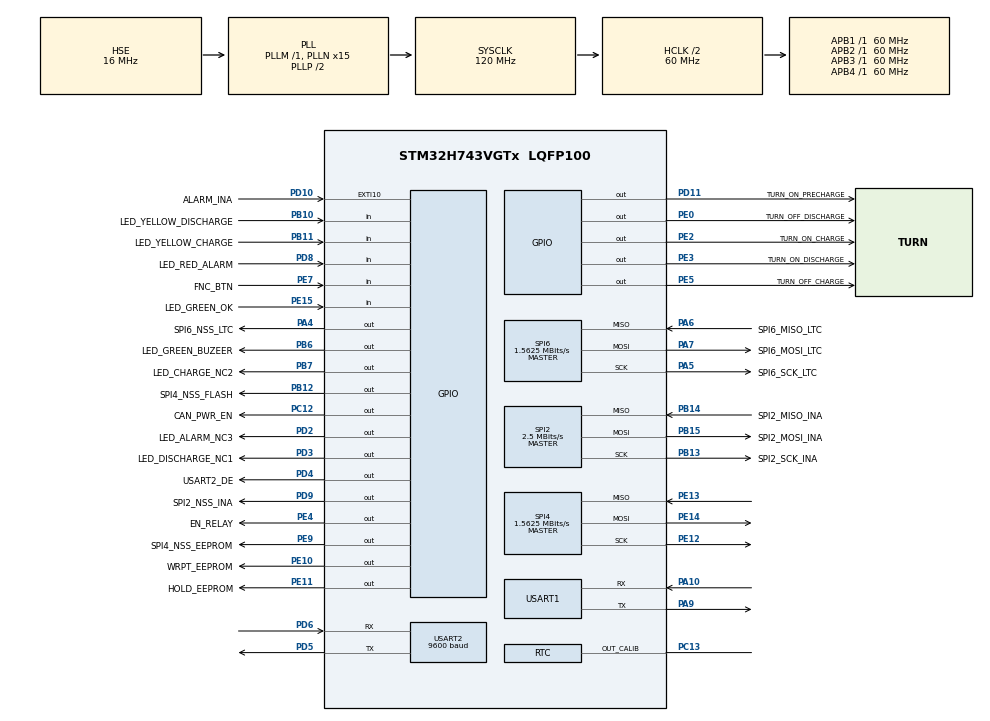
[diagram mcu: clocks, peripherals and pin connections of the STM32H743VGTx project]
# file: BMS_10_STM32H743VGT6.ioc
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CORTEX_M7.default_mode_Activation=0
Mcu.Family=STM32H7
Mcu.Name=STM32H743VGTx
Mcu.Package=LQFP100
NVIC.EXTI15_10_IRQn=true\:0\:0\:false\:true\:true\:3\:true\:true\:true
NVIC.PriorityGroup=NVIC_PRIORITYGROUP_4
NVIC.TIM6_DAC_IRQn=true\:1\:0\:true\:true\:true\:1\:true\:true\:true
NVIC.USART2_IRQn=true\:2\:0\:true\:true\:true\:2\:true\:true\:true
PA10.Mode=Asynchronous
PA10.Signal=USART1_RX
PA13\ (JTMS/SWDIO).Mode=Serial_Wire
PA13\ (JTMS/SWDIO).Signal=DEBUG_JTMS-SWDIO
PA14\ (JTCK/SWCLK).Mode=Serial_Wire
PA14\ (JTCK/SWCLK).Signal=DEBUG_JTCK-SWCLK
PA4.GPIO_Label=SPI6_NSS_LTC
PA4.Signal=GPIO_Output
PA5.GPIO_Label=SPI6_SCK_LTC
PA5.Mode=Full_Duplex_Master
PA5.Signal=SPI6_SCK
PA6.GPIO_Label=SPI6_MISO_LTC
PA6.Mode=Full_Duplex_Master
PA6.Signal=SPI6_MISO
PA7.GPIO_Label=SPI6_MOSI_LTC
PA7.Mode=Full_Duplex_Master
PA7.Signal=SPI6_MOSI
PA9.Mode=Asynchronous
PA9.Signal=USART1_TX
PB10.GPIO_Label=LED_YELLOW_DISCHARGE
PB10.GPIO_PuPd=GPIO_PULLUP
PB10.Signal=GPIO_Input
PB11.GPIO_Label=LED_YELLOW_CHARGE
PB11.GPIO_PuPd=GPIO_PULLUP
PB11.Signal=GPIO_Input
PB12.GPIO_Label=SPI4_NSS_FLASH
PB12.Signal=GPIO_Output
PB13.GPIO_Label=SPI2_SCK_INA
PB13.Mode=Full_Duplex_Master
PB13.Signal=SPI2_SCK
PB14.GPIO_Label=SPI2_MISO_INA
PB14.Mode=Full_Duplex_Master
PB14.Signal=SPI2_MISO
PB15.GPIO_Label=SPI2_MOSI_INA
PB15.Mode=Full_Duplex_Master
PB15.Signal=SPI2_MOSI
PB6.GPIO_Label=LED_GREEN_BUZEER
PB6.Signal=GPIO_Output
PB7.GPIO_Label=LED_CHARGE_NC2
PB7.Signal=GPIO_Output
PC12.GPIO_Label=CAN_PWR_EN
PC12.Signal=GPIO_Output
PC13.Mode=Calibration_1Hz
PC13.Signal=RTC_OUT_CALIB
PC14-OSC32_IN\ (OSC32_IN).Mode=LSE-External-Oscillator
PC14-OSC32_IN\ (OSC32_IN).Signal=RCC_OSC32_IN
PC15-OSC32_OUT\ (OSC32_OUT).Mode=LSE-External-Oscillator
PC15-OSC32_OUT\ (OSC32_OUT).Signal=RCC_OSC32_OUT
PD10.GPIO_Label=ALARM_INA
PD10.GPIO_ModeDefaultEXTI=GPIO_MODE_IT_FALLING
PD10.GPIO_PuPd=GPIO_NOPULL
PD10.Signal=GPXTI10
PD11.GPIO_Label=TURN_ON_PRECHARGE
PD11.Signal=GPIO_Output
PD2.GPIO_Label=LED_ALARM_NC3
PD2.Signal=GPIO_Output
PD3.GPIO_Label=LED_DISCHARGE_NC1
PD3.Signal=GPIO_Output
PD4.GPIO_Label=USART2_DE
PD4.Signal=GPIO_Output
PD5.Mode=Asynchronous
PD5.Signal=USART2_TX
PD6.Mode=Asynchronous
PD6.Signal=USART2_RX
PD8.GPIO_Label=LED_RED_ALARM
PD8.GPIO_PuPd=GPIO_PULLUP
PD8.Signal=GPIO_Input
PD9.GPIO_Label=SPI2_NSS_INA
PD9.Signal=GPIO_Output
PE0.GPIO_Label=TURN_OFF_DISCHARGE
PE0.Signal=GPIO_Output
PE10.GPIO_Label=WRPT_EEPROM
PE10.Signal=GPIO_Output
PE11.GPIO_Label=HOLD_EEPROM
PE11.Signal=GPIO_Output
PE12.Mode=Full_Duplex_Master
PE12.Signal=SPI4_SCK
PE13.Mode=Full_Duplex_Master
PE13.Signal=SPI4_MISO
PE14.Mode=Full_Duplex_Master
PE14.Signal=SPI4_MOSI
PE15.GPIO_Label=LED_GREEN_OK
PE15.GPIO_PuPd=GPIO_PULLUP
PE15.Signal=GPIO_Input
PE2.GPIO_Label=TURN_ON_CHARGE
PE2.Signal=GPIO_Output
PE3.GPIO_Label=TURN_ON_DISCHARGE
PE3.Signal=GPIO_Output
PE4.GPIO_Label=EN_RELAY
PE4.Signal=GPIO_Output
PE5.GPIO_Label=TURN_OFF_CHARGE
PE5.Signal=GPIO_Output
PE7.GPIO_Label=FNC_BTN
PE7.GPIO_PuPd=GPIO_PULLUP
PE7.Signal=GPIO_Input
PE9.GPIO_Label=SPI4_NSS_EEPROM
PE9.Signal=GPIO_Output
PH0-OSC_IN\ (PH0).Mode=HSE-External-Oscillator
PH0-OSC_IN\ (PH0).Signal=RCC_OSC_IN
PH1-OSC_OUT\ (PH1).Mode=HSE-External-Oscillator
PH1-OSC_OUT\ (PH1).Signal=RCC_OSC_OUT
ProjectManager.HeapSize=0x200
ProjectManager.StackSize=0x400
ProjectManager.TargetToolchain=STM32CubeIDE
RCC.ADCFreq_Value=75000000
RCC.APB1Freq_Value=60000000
RCC.APB2Freq_Value=60000000
RCC.APB3Freq_Value=60000000
RCC.APB4Freq_Value=60000000
RCC.CortexFreq_Value=120000000
RCC.DIVM1=1
RCC.DIVM2=1
RCC.DIVN1=15
RCC.DIVN2=9
RCC.DIVQ1=3
RCC.DIVQ2=3
RCC.EnbaleCSS=true
RCC.FDCANCLockSelection=RCC_FDCANCLKSOURCE_PLL2
RCC.HCLKFreq_Value=60000000
RCC.HPRE=RCC_HCLK_DIV2
RCC.HSE_VALUE=16000000
RCC.PLL2FRACN=3072
RCC.PLL3FRACN=0
RCC.PLLFRACN=0
RCC.PLLSourceVirtual=RCC_PLLSOURCE_HSE
RCC.RTCClockSelection=RCC_RTCCLKSOURCE_LSE
RCC.SPI6CLockSelection=RCC_SPI6CLKSOURCE_PLL2
RCC.SYSCLKFreq_VALUE=120000000
RCC.SYSCLKSource=RCC_SYSCLKSOURCE_PLLCLK
RCC.Spi45ClockSelection=RCC_SPI45CLKSOURCE_PLL2
RCC.Tim2Mul=1
RCC.USART16CLockSelection=RCC_USART16CLKSOURCE_PLL2
RCC.USART234578CLockSelection=RCC_USART234578CLKSOURCE_PLL2
RCC.USBFreq_Value=80000000
RTC.Date=9
RTC.Hours=12
RTC.Minutes=12
RTC.Month=RTC_MONTH_JULY
RTC.Seconds=12
RTC.WeekDay=RTC_WEEKDAY_SUNDAY
RTC.Year=23
SPI2.BaudRatePrescaler=SPI_BAUDRATEPRESCALER_32
SPI2.CLKPhase=SPI_PHASE_2EDGE
SPI2.CalculateBaudRate=2.5 MBits/s
SPI2.DataSize=SPI_DATASIZE_8BIT
SPI2.Direction=SPI_DIRECTION_2LINES
SPI2.MasterKeepIOState=SPI_MASTER_KEEP_IO_STATE_ENABLE
SPI2.Mode=SPI_MODE_MASTER
SPI2.VirtualType=VM_MASTER
SPI4.BaudRatePrescaler=SPI_BAUDRATEPRESCALER_32
SPI4.CalculateBaudRate=1.5625 MBits/s
SPI4.DataSize=SPI_DATASIZE_8BIT
SPI4.Direction=SPI_DIRECTION_2LINES
SPI4.MasterKeepIOState=SPI_MASTER_KEEP_IO_STATE_ENABLE
SPI4.Mode=SPI_MODE_MASTER
SPI4.VirtualType=VM_MASTER
SPI6.BaudRatePrescaler=SPI_BAUDRATEPRESCALER_32
SPI6.CLKPhase=SPI_PHASE_2EDGE
SPI6.CLKPolarity=SPI_POLARITY_HIGH
SPI6.CalculateBaudRate=1.5625 MBits/s
SPI6.DataSize=SPI_DATASIZE_8BIT
SPI6.Direction=SPI_DIRECTION_2LINES
SPI6.MasterKeepIOState=SPI_MASTER_KEEP_IO_STATE_ENABLE
SPI6.Mode=SPI_MODE_MASTER
SPI6.VirtualType=VM_MASTER
TIM6.Period=60000
USART1.VirtualMode-Asynchronous=VM_ASYNC
USART2.BaudRate=9600
USART2.DMADisableonRxErrorParam=ADVFEATURE_DMA_DISABLEONRXERROR
USART2.DataInvertParam=ADVFEATURE_DATAINV_DISABLE
USART2.FIFOMode=FIFOMODE_DISABLE
USART2.MSBFirstParam=ADVFEATURE_MSBFIRST_DISABLE
USART2.OverrunDisableParam=ADVFEATURE_OVERRUN_DISABLE
USART2.RxPinLevelInvertParam=ADVFEATURE_RXINV_ENABLE
USART2.SwapParam=ADVFEATURE_SWAP_DISABLE
USART2.TxPinLevelInvertParam=ADVFEATURE_TXINV_ENABLE
USART2.VirtualMode-Asynchronous=VM_ASYNC
VP_RTC_VS_RTC_Activate.Mode=RTC_Enabled
VP_RTC_VS_RTC_Calendar.Mode=RTC_Calendar
VP_TIM6_VS_ClockSourceINT.Mode=Enable_Timer
board=custom

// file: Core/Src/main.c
/* USER CODE BEGIN Header */
/**
  ******************************************************************************
  * @file           : main.c
  * @brief          : Main program body
  ******************************************************************************
  * @attention
  *
  * Copyright (c) 2023 STMicroelectronics.
  * All rights reserved.
  *
  * This software is licensed under terms that can be found in the LICENSE file
  * in the root directory of this software component.
  * If no LICENSE file comes with this software, it is provided AS-IS.
  *
  ******************************************************************************
  */
/* USER CODE END Header */
#include "main.h"

/* USER CODE BEGIN Includes */

#include "stdint.h"
#include "stdlib.h"
#include "stm32_tm1637.h"
#include "LTC6813.h"
#include "LTC6813_BMS.h"
#include "INA229.h"
#include "BMS_Communication_Protocol.h"
#include "w25qxx.h"
#include "STM32_EEPROM_SPI.h"
#include "Event_Log.h"
#include "BMS_Power_Control.h"
#include "stdio.h"
#include "string.h"

//#include "LTC6813_BMS.h"

/* USER CODE END Includes */

RTC_HandleTypeDef hrtc;

SPI_HandleTypeDef hspi2;
SPI_HandleTypeDef hspi4;
SPI_HandleTypeDef hspi6;

TIM_HandleTypeDef htim6;

UART_HandleTypeDef huart1;
UART_HandleTypeDef huart2;

/* USER CODE BEGIN PV */

const uint16_t M = 18;
const uint16_t N = 4;

RTC_TimeTypeDef sTime = {0};
RTC_DateTypeDef DateToUpdate = {0};
char trans_str[5] = {0,};

uint8_t w_buf[64] = {0,};
uint8_t r_buf[64] = {0,};

uint16_t History_Data_Num = 0;

uint8_t Cell_Voltage_Alarm_State[18] = {0,};
uint8_t Temperature_Alarm_State[4] = {0,};
uint8_t Current_Alarm_State = 0;
uint8_t Battery_Voltage_Alarm_State = 0;
uint8_t System_State_Code = 0;
uint8_t Voltage_Event_Code;
uint8_t Temperature_Event_Code;
uint8_t Current_Event_Code;

uint8_t Pack_Location;

int16_t Alarm_Max_Temper_Cell;
int16_t Alarm_Min_Temper_Cell;
uint16_t Alarm_Charge_Over_Current;
uint16_t Alarm_Discharge_Over_Current;
uint16_t Alarm_Cell_Over_Voltage;
uint16_t Alarm_Cell_Under_Voltage;
uint16_t Alarm_Battery_Over_Voltage;
uint16_t Alarm_Battery_Under_Voltage;

uint16_t Protection_Cell_Over_Voltage;
uint16_t Protection_Recover_Cell_Over_Voltage;
uint16_t Protection_Recover_Cell_Under_Voltage;
uint16_t Protection_Cell_Under_Voltage;
uint16_t Protection_Battery_Over_Voltage;
uint16_t Protection_Recover_Battery_Over_Voltage;
uint16_t Protection_Recover_Battery_Under_Voltage;
uint16_t Protection_Battery_Under_Voltage;
uint16_t Protection_Charge_Over_Current;
uint16_t Protection_Discharge_Over_Current;

int16_t Equalization_State = 0;
uint16_t Total_Battery_Capacity_mAh = BATTERY_CAPACITY_DEFAULT;
uint32_t Battery_Residual_Capacity_mAh;
uint64_t Battery_Capacity_Accum;
uint16_t Battery_Cycles = 1;

uint16_t Cell_Voltage_mV;
uint16_t Vpack_Voltage_mV;
int16_t Current_mA;
int16_t Current_Average;
int16_t Environment_temperature;
uint16_t Cell_Voltage_Array[18] = {0,};

uint8_t USART_TX_SEND = 0;
uint8_t RS485_RX_DATA[RS485_RX_MAX_FRAME_LENGTH] = {0,};
uint8_t RS485_RX_DATA_TEMP;
uint8_t RS485_RX_START_FRAME_FLAG = 0;
uint8_t RS485_RX_STOP_FRAME_FLAG = 0;
uint8_t RS485_RX_FRAME_DONE_FLAG = 0;
uint8_t RS485_RX_COUNTER = 0;

uint8_t Alarm_Flag = 0;
uint8_t screen_num = 0;

char PackNum_Char_1;
char PackNum_Char_2;

uint8_t SOC_percent;

uint8_t Temp_Ch;

uint16_t EEPROM_Write_timer;

#define CURRENT_COEF 75/100
#define CURRENT_COEF_INV 100/75

#define STARTING_CURRENT 10

#define ParaArraySize 69
int32_t EEPROM_Read_Array[ParaArraySize] = {0,};
int32_t Para_Array[ParaArraySize] = {0,};

/* USER CODE END PV */

void SystemClock_Config(void);
void PeriphCommonClock_Config(void);
static void MX_GPIO_Init(void);
static void MX_RTC_Init(void);
static void MX_SPI6_Init(void);
static void MX_TIM6_Init(void);
static void MX_SPI2_Init(void);
static void MX_USART2_UART_Init(void);
static void MX_SPI4_Init(void);
static void MX_USART1_UART_Init(void);
static void MX_NVIC_Init(void);

/* USER CODE BEGIN 0 */

void HAL_GPIO_EXTI_Callback(uint16_t GPIO_Pin){ // INA229 ALARM
   if(GPIO_Pin == GPIO_PIN_10){
		if (INA229_Read_ALERT() & 0x20){
			HAL_GPIO_WritePin(TURN_OFF_CHARGE_GPIO_Port, TURN_OFF_CHARGE_Pin, GPIO_PIN_SET);
			HAL_GPIO_WritePin(TURN_ON_CHARGE_GPIO_Port, TURN_ON_CHARGE_Pin, GPIO_PIN_RESET);
			Alarm_Flag = 3;
		}
		else if (INA229_Read_ALERT() & 0x40){
			HAL_GPIO_WritePin(TURN_OFF_DISCHARGE_GPIO_Port, TURN_OFF_DISCHARGE_Pin, GPIO_PIN_SET);
			HAL_GPIO_WritePin(TURN_ON_DISCHARGE_GPIO_Port, TURN_ON_DISCHARGE_Pin, GPIO_PIN_RESET);
			Alarm_Flag = 5;
		}
   }
}

void HAL_UART_RxCpltCallback(UART_HandleTypeDef *huart){
	if(huart == &huart2){
		RS485_RX_FLAG_STATE();
		HAL_UART_Receive_IT(&huart2, &RS485_RX_DATA_TEMP, 1);
	}
}

void HAL_TIM_PeriodElapsedCallback(TIM_HandleTypeDef *htim) {
	if(htim->Instance == TIM6) {

//		Current_mA = INA229_Read_VSHUNT()/RSHUNT/25;
//		Battery_Capacity_Accum += Current_mA*2^32/(1000*60*60);
		Battery_Capacity_Accum += Current_mA*4294967296/3600000;
		Battery_Residual_Capacity_mAh = Battery_Capacity_Accum >> 32;

		if (Battery_Residual_Capacity_mAh > Total_Battery_Capacity_mAh){
			Battery_Residual_Capacity_mAh = Total_Battery_Capacity_mAh;
		}
		else if (Battery_Residual_Capacity_mAh < 0){
			Battery_Residual_Capacity_mAh = 0;
		}
	}
}

// Фильтр скользящего среднего
int16_t Moving_Average_Simple_Current(int16_t Zk) {
    #define windowLengthCurrent 32
    static int16_t delayLine[windowLengthCurrent];
    static uint16_t pointer;
    static int32_t average_Out;
  if (++pointer >= windowLengthCurrent) pointer = 0;
  average_Out -= delayLine[pointer];
  average_Out += Zk;
  delayLine[pointer] = Zk;
  return (average_Out / windowLengthCurrent);
}
/* USER CODE END 0 */

int main(void)
{

  /* MCU Configuration--------------------------------------------------------*/

  /* Reset of all peripherals, Initializes the Flash interface and the Systick. */
  HAL_Init();

  /* Configure the system clock */
  SystemClock_Config();

/* Configure the peripherals common clocks */
  PeriphCommonClock_Config();

  /* Initialize all configured peripherals */
  MX_GPIO_Init();
  MX_RTC_Init();
  MX_SPI6_Init();
  MX_TIM6_Init();
  MX_SPI2_Init();
  MX_USART2_UART_Init();
  MX_SPI4_Init();
  MX_USART1_UART_Init();

  /* Initialize interrupts */
  MX_NVIC_Init();
  /* USER CODE BEGIN 2 */
  HAL_PWR_EnableBkUpAccess();

  TURN_OFF_ALL_MOSFETS();

  HAL_GPIO_WritePin(CAN_PWR_EN_GPIO_Port, CAN_PWR_EN_Pin, GPIO_PIN_SET);
  Pack_Location = Pack_Number_Jamper_Read();
  PackNum_Char_1 = Hex_to_ASCII(Pack_Location);
  PackNum_Char_2 = Hex_to_ASCII(Pack_Location)>>8;

  EEPROM_SPI_INIT(&hspi4);
  W25qxx_Init();
  Clear_Flash_Block(0);

  EEPROM_LOAD_DEFAULT();

  EEPROM_SPI_ReadBuffer_int32_t(0x00, ParaArraySize);
	for (int i = 0; i < ParaArraySize; i++){
		Para_Array[i] = EEPROM_Read_Array[i];
	}

  Battery_Capacity_Accum = Para_Array[Battery_rated_capacity_parameter] * 42949672960;

  INA229_Init();
  INA229_Set_Current_Charge_ALRM(STARTING_CURRENT * 1000 / 25 * 10 * CURRENT_COEF_INV);
  INA229_Set_Current_Discharge_ALRM(STARTING_CURRENT * (-1000) / 25 * 10 * CURRENT_COEF_INV);

  LTC6813_Init();

  tm1637Init();
  tm1637WriteSnake(100);
  tm1637WriteSnake(100);

  uint16_t Err_Chk = LTC6813_Chk_Start_Error();

  while (Err_Chk != 0){
	  LED_ALARM_ON();
	  if (Err_Chk == 0x01){
		  tm1637WriteSymbol('E', 3);
		  tm1637WriteSymbol('-', 2);
		  tm1637WriteSymbol('0', 1);
		  tm1637WriteSymbol('1', 0);
	  }
	  else if (Err_Chk == 0x02){
		  tm1637WriteSymbol('E', 3);
		  tm1637WriteSymbol('-', 2);
		  tm1637WriteSymbol('0', 1);
		  tm1637WriteSymbol('2', 0);
	  }
	  else if (Err_Chk == 0x04){
		  tm1637WriteSymbol('E', 3);
		  tm1637WriteSymbol('-', 2);
		  tm1637WriteSymbol('0', 1);
		  tm1637WriteSymbol('4', 0);
	  }
	  Err_Chk = LTC6813_Chk_Start_Error();
  }

  TURN_ON_PRE_CHARGE();
  HAL_Delay(Para_Array[Discharge_over_current_time_delay_parameter]);
  TURN_ON_ALL_MOSFETS();
  TURN_OFF_PRE_CHARGE();

//  Read_History_from_Flash(History_Data_Num - 1);

  INA229_Set_Current_Charge_ALRM(Para_Array[Charge_over_current_protection_parameter] * 1000 / 25 * 10 * CURRENT_COEF_INV);
  INA229_Set_Current_Discharge_ALRM(-Para_Array[Discharge_over_current_protection_parameter] * 1000 / 25 * 10 * CURRENT_COEF_INV);

  HAL_TIM_Base_Start_IT(&htim6);
  HAL_UART_Receive_IT(&huart2, &RS485_RX_DATA_TEMP, 1);

  LED_OK_ON();

// HAL_RTCEx_BKUPWrite(&hrtc, RTC_BKP_DR1, 0xBEBE); // 32 битные регистры BKUP памяти
// HAL_RTCEx_BKUPRead(&hrtc, RTC_BKP_DR1);

  /* USER CODE END 2 */

  /* Infinite loop */
  /* USER CODE BEGIN WHILE */
  while (1)
  {
	  Alarm_State_Update();
//	  LTC6813_Chk_Cell_Error();

	  Current_mA = -INA229_Read_VSHUNT()/RSHUNT/100*CURRENT_COEF;
	  Current_Average = Moving_Average_Simple_Current(Current_mA);
	  SOC_percent = Battery_Residual_Capacity_mAh * 100 / Total_Battery_Capacity_mAh;

	  Cell_Voltage_mV = LTC6813_Read_Cell(0)/10;
//	  tm1637DisplayDecimalPnt(Cell_Voltage_mV, 4);
	  tm1637DisplayDecimalPnt(SOC_percent, 0);

	  if (Current_mA < 0){
		  LED_DISCHARGE_ON();
		  LED_CHARGE_OFF();
	  }
	  else if (Current_mA > 0){
		  LED_CHARGE_ON();
		  LED_DISCHARGE_OFF();
	  }

	  if (Alarm_Flag != 0) {
		  LED_ALARM_ON();
		  LED_OK_OFF();
		  if (Alarm_Flag & 0x02) {
			  Alarm_Event_Log();
			  HAL_Delay(2000);
			  Alarm_Event_Log();
			  Alarm_Flag = 0;
			  TURN_ON_CHARGE_MOSFET();
		  }
		  if (Alarm_Flag & 0x04) {
			  Alarm_Event_Log();
			  HAL_Delay(2000);
			  Alarm_Event_Log();
			  Alarm_Flag = 0;
			  TURN_ON_DISCHARGE_MOSFET();
		  }
		  if (Alarm_Flag & 0x10) {
			  TURN_OFF_CHARGE_MOSFET();
			  LED_CHARGE_OFF();
		  }
		  if (Alarm_Flag & 0x20) {
			  TURN_OFF_DISCHARGE_MOSFET();
			  LED_DISCHARGE_OFF();
		  }
	  }
	  else {
		  LED_ALARM_OFF();
		  LED_OK_ON();
		  TURN_ON_CHARGE_MOSFET();
		  TURN_ON_DISCHARGE_MOSFET();
	  }

	  if(RS485_RX_FRAME_DONE_FLAG == 1) {
		if (RS485_RX_DATA[13] == PackNum_Char_2 && RS485_RX_DATA[14] == PackNum_Char_1){
			if (RS485_RX_DATA[7] == '4' && RS485_RX_DATA[8] == '2'){
				RS485_Transmit_Remote_Measuring();
			}
			else if (RS485_RX_DATA[7] == '4' && RS485_RX_DATA[8] == '4'){
				RS485_Transmit_Remote_Signaling();
			}
			else if (RS485_RX_DATA[7] == '4' && RS485_RX_DATA[8] == '7'){
				RS485_Transmit_Remote_Adjusting();
			}
			else if (RS485_RX_DATA[7] == '4' && RS485_RX_DATA[8] == '9'){
				RS485_Remote_Set_Command();
			}
			else if (RS485_RX_DATA[7] == '4' && RS485_RX_DATA[8] == 'B'){
				RS485_Transmit_Remote_History(History_Data_Num - 1);
			}
		}
		RS485_RX_COUNTER = 0;
		RS485_RX_FRAME_DONE_FLAG = 0;
	  }

    /* USER CODE END WHILE */

    /* USER CODE BEGIN 3 */
	  HAL_Delay(100);

	  if (EEPROM_Write_timer < 50){
		  EEPROM_Write_timer++;
	  }
	  else {
		  EEPROM_Write_timer = 0;
		  int32_t EEPROM_Temp[1];
		  EEPROM_Temp[0] = Battery_Capacity_Accum/42949672960;
		  EEPROM_SPI_Write_int32_t(50*4, EEPROM_Temp[0]);
	  }

  }
  /* USER CODE END 3 */
}

void SystemClock_Config(void)
{
  RCC_OscInitTypeDef RCC_OscInitStruct = {0};
  RCC_ClkInitTypeDef RCC_ClkInitStruct = {0};

  /** Supply configuration update enable
  */
  HAL_PWREx_ConfigSupply(PWR_LDO_SUPPLY);

  /** Configure the main internal regulator output voltage
  */
  __HAL_PWR_VOLTAGESCALING_CONFIG(PWR_REGULATOR_VOLTAGE_SCALE3);

  while(!__HAL_PWR_GET_FLAG(PWR_FLAG_VOSRDY)) {}

  /** Configure LSE Drive Capability
  */
  HAL_PWR_EnableBkUpAccess();
  __HAL_RCC_LSEDRIVE_CONFIG(RCC_LSEDRIVE_LOW);

  /** Macro to configure the PLL clock source
  */
  __HAL_RCC_PLL_PLLSOURCE_CONFIG(RCC_PLLSOURCE_HSE);

  /** Initializes the RCC Oscillators according to the specified parameters
  * in the RCC_OscInitTypeDef structure.
  */
  RCC_OscInitStruct.OscillatorType = RCC_OSCILLATORTYPE_HSE|RCC_OSCILLATORTYPE_LSE;
  RCC_OscInitStruct.HSEState = RCC_HSE_ON;
  RCC_OscInitStruct.LSEState = RCC_LSE_ON;
  RCC_OscInitStruct.PLL.PLLState = RCC_PLL_ON;
  RCC_OscInitStruct.PLL.PLLSource = RCC_PLLSOURCE_HSE;
  RCC_OscInitStruct.PLL.PLLM = 1;
  RCC_OscInitStruct.PLL.PLLN = 15;
  RCC_OscInitStruct.PLL.PLLP = 2;
  RCC_OscInitStruct.PLL.PLLQ = 3;
  RCC_OscInitStruct.PLL.PLLR = 2;
  RCC_OscInitStruct.PLL.PLLRGE = RCC_PLL1VCIRANGE_3;
  RCC_OscInitStruct.PLL.PLLVCOSEL = RCC_PLL1VCOWIDE;
  RCC_OscInitStruct.PLL.PLLFRACN = 0;
  if (HAL_RCC_OscConfig(&RCC_OscInitStruct) != HAL_OK)
  {
    Error_Handler();
  }

  /** Initializes the CPU, AHB and APB buses clocks
  */
  RCC_ClkInitStruct.ClockType = RCC_CLOCKTYPE_HCLK|RCC_CLOCKTYPE_SYSCLK
                              |RCC_CLOCKTYPE_PCLK1|RCC_CLOCKTYPE_PCLK2
                              |RCC_CLOCKTYPE_D3PCLK1|RCC_CLOCKTYPE_D1PCLK1;
  RCC_ClkInitStruct.SYSCLKSource = RCC_SYSCLKSOURCE_PLLCLK;
  RCC_ClkInitStruct.SYSCLKDivider = RCC_SYSCLK_DIV1;
  RCC_ClkInitStruct.AHBCLKDivider = RCC_HCLK_DIV2;
  RCC_ClkInitStruct.APB3CLKDivider = RCC_APB3_DIV1;
  RCC_ClkInitStruct.APB1CLKDivider = RCC_APB1_DIV1;
  RCC_ClkInitStruct.APB2CLKDivider = RCC_APB2_DIV1;
  RCC_ClkInitStruct.APB4CLKDivider = RCC_APB4_DIV1;

  if (HAL_RCC_ClockConfig(&RCC_ClkInitStruct, FLASH_LATENCY_1) != HAL_OK)
  {
    Error_Handler();
  }

  /** Enables the Clock Security System
  */
  HAL_RCC_EnableCSS();
}

void PeriphCommonClock_Config(void)
{
  RCC_PeriphCLKInitTypeDef PeriphClkInitStruct = {0};

  /** Initializes the peripherals clock
  */
  PeriphClkInitStruct.PeriphClockSelection = RCC_PERIPHCLK_SPI6|RCC_PERIPHCLK_SPI4
                              |RCC_PERIPHCLK_USART1|RCC_PERIPHCLK_USART2;
  PeriphClkInitStruct.PLL2.PLL2M = 1;
  PeriphClkInitStruct.PLL2.PLL2N = 9;
  PeriphClkInitStruct.PLL2.PLL2P = 2;
  PeriphClkInitStruct.PLL2.PLL2Q = 3;
  PeriphClkInitStruct.PLL2.PLL2R = 2;
  PeriphClkInitStruct.PLL2.PLL2RGE = RCC_PLL2VCIRANGE_3;
  PeriphClkInitStruct.PLL2.PLL2VCOSEL = RCC_PLL2VCOMEDIUM;
  PeriphClkInitStruct.PLL2.PLL2FRACN = 3072;
  PeriphClkInitStruct.Spi45ClockSelection = RCC_SPI45CLKSOURCE_PLL2;
  PeriphClkInitStruct.Usart234578ClockSelection = RCC_USART234578CLKSOURCE_PLL2;
  PeriphClkInitStruct.Usart16ClockSelection = RCC_USART16CLKSOURCE_PLL2;
  PeriphClkInitStruct.Spi6ClockSelection = RCC_SPI6CLKSOURCE_PLL2;
  if (HAL_RCCEx_PeriphCLKConfig(&PeriphClkInitStruct) != HAL_OK)
  {
    Error_Handler();
  }
}

/**
  * @brief NVIC Configuration.
  * @retval None
  */
static void MX_NVIC_Init(void)
{
  /* TIM6_DAC_IRQn interrupt configuration */
  HAL_NVIC_SetPriority(TIM6_DAC_IRQn, 1, 0);
  HAL_NVIC_EnableIRQ(TIM6_DAC_IRQn);
  /* USART2_IRQn interrupt configuration */
  HAL_NVIC_SetPriority(USART2_IRQn, 2, 0);
  HAL_NVIC_EnableIRQ(USART2_IRQn);
  /* EXTI15_10_IRQn interrupt configuration */
  HAL_NVIC_SetPriority(EXTI15_10_IRQn, 0, 0);
  HAL_NVIC_EnableIRQ(EXTI15_10_IRQn);
}

static void MX_RTC_Init(void)
{

  RTC_TimeTypeDef sTime = {0};
  RTC_DateTypeDef sDate = {0};

  /** Initialize RTC Only
  */
  hrtc.Instance = RTC;
  hrtc.Init.HourFormat = RTC_HOURFORMAT_24;
  hrtc.Init.AsynchPrediv = 127;
  hrtc.Init.SynchPrediv = 255;
  hrtc.Init.OutPut = RTC_OUTPUT_DISABLE;
  hrtc.Init.OutPutPolarity = RTC_OUTPUT_POLARITY_HIGH;
  hrtc.Init.OutPutType = RTC_OUTPUT_TYPE_OPENDRAIN;
  hrtc.Init.OutPutRemap = RTC_OUTPUT_REMAP_NONE;
  if (HAL_RTC_Init(&hrtc) != HAL_OK)
  {
    Error_Handler();
  }

  /** Initialize RTC and set the Time and Date
  */
  sTime.Hours = 0x12;
  sTime.Minutes = 0x12;
  sTime.Seconds = 0x12;
  sTime.DayLightSaving = RTC_DAYLIGHTSAVING_NONE;
  sTime.StoreOperation = RTC_STOREOPERATION_RESET;
  if (HAL_RTC_SetTime(&hrtc, &sTime, RTC_FORMAT_BCD) != HAL_OK)
  {
    Error_Handler();
  }
  sDate.WeekDay = RTC_WEEKDAY_SUNDAY;
  sDate.Month = RTC_MONTH_JULY;
  sDate.Date = 0x9;
  sDate.Year = 0x23;

  if (HAL_RTC_SetDate(&hrtc, &sDate, RTC_FORMAT_BCD) != HAL_OK)
  {
    Error_Handler();
  }

  /** Enable Calibrartion
  */
  if (HAL_RTCEx_SetCalibrationOutPut(&hrtc, RTC_CALIBOUTPUT_1HZ) != HAL_OK)
  {
    Error_Handler();
  }

}

static void MX_SPI2_Init(void)
{

  /* SPI2 parameter configuration*/
  hspi2.Instance = SPI2;
  hspi2.Init.Mode = SPI_MODE_MASTER;
  hspi2.Init.Direction = SPI_DIRECTION_2LINES;
  hspi2.Init.DataSize = SPI_DATASIZE_8BIT;
  hspi2.Init.CLKPolarity = SPI_POLARITY_LOW;
  hspi2.Init.CLKPhase = SPI_PHASE_2EDGE;
  hspi2.Init.NSS = SPI_NSS_SOFT;
  hspi2.Init.BaudRatePrescaler = SPI_BAUDRATEPRESCALER_32;
  hspi2.Init.FirstBit = SPI_FIRSTBIT_MSB;
  hspi2.Init.TIMode = SPI_TIMODE_DISABLE;
  hspi2.Init.CRCCalculation = SPI_CRCCALCULATION_DISABLE;
  hspi2.Init.CRCPolynomial = 0x0;
  hspi2.Init.NSSPMode = SPI_NSS_PULSE_ENABLE;
  hspi2.Init.NSSPolarity = SPI_NSS_POLARITY_LOW;
  hspi2.Init.FifoThreshold = SPI_FIFO_THRESHOLD_01DATA;
  hspi2.Init.TxCRCInitializationPattern = SPI_CRC_INITIALIZATION_ALL_ZERO_PATTERN;
  hspi2.Init.RxCRCInitializationPattern = SPI_CRC_INITIALIZATION_ALL_ZERO_PATTERN;
  hspi2.Init.MasterSSIdleness = SPI_MASTER_SS_IDLENESS_00CYCLE;
  hspi2.Init.MasterInterDataIdleness = SPI_MASTER_INTERDATA_IDLENESS_00CYCLE;
  hspi2.Init.MasterReceiverAutoSusp = SPI_MASTER_RX_AUTOSUSP_DISABLE;
  hspi2.Init.MasterKeepIOState = SPI_MASTER_KEEP_IO_STATE_ENABLE;
  hspi2.Init.IOSwap = SPI_IO_SWAP_DISABLE;
  if (HAL_SPI_Init(&hspi2) != HAL_OK)
  {
    Error_Handler();
  }

}

static void MX_SPI4_Init(void)
{

  /* SPI4 parameter configuration*/
  hspi4.Instance = SPI4;
  hspi4.Init.Mode = SPI_MODE_MASTER;
  hspi4.Init.Direction = SPI_DIRECTION_2LINES;
  hspi4.Init.DataSize = SPI_DATASIZE_8BIT;
  hspi4.Init.CLKPolarity = SPI_POLARITY_LOW;
  hspi4.Init.CLKPhase = SPI_PHASE_1EDGE;
  hspi4.Init.NSS = SPI_NSS_SOFT;
  hspi4.Init.BaudRatePrescaler = SPI_BAUDRATEPRESCALER_32;
  hspi4.Init.FirstBit = SPI_FIRSTBIT_MSB;
  hspi4.Init.TIMode = SPI_TIMODE_DISABLE;
  hspi4.Init.CRCCalculation = SPI_CRCCALCULATION_DISABLE;
  hspi4.Init.CRCPolynomial = 0x0;
  hspi4.Init.NSSPMode = SPI_NSS_PULSE_ENABLE;
  hspi4.Init.NSSPolarity = SPI_NSS_POLARITY_LOW;
  hspi4.Init.FifoThreshold = SPI_FIFO_THRESHOLD_01DATA;
  hspi4.Init.TxCRCInitializationPattern = SPI_CRC_INITIALIZATION_ALL_ZERO_PATTERN;
  hspi4.Init.RxCRCInitializationPattern = SPI_CRC_INITIALIZATION_ALL_ZERO_PATTERN;
  hspi4.Init.MasterSSIdleness = SPI_MASTER_SS_IDLENESS_00CYCLE;
  hspi4.Init.MasterInterDataIdleness = SPI_MASTER_INTERDATA_IDLENESS_00CYCLE;
  hspi4.Init.MasterReceiverAutoSusp = SPI_MASTER_RX_AUTOSUSP_DISABLE;
  hspi4.Init.MasterKeepIOState = SPI_MASTER_KEEP_IO_STATE_ENABLE;
  hspi4.Init.IOSwap = SPI_IO_SWAP_DISABLE;
  if (HAL_SPI_Init(&hspi4) != HAL_OK)
  {
    Error_Handler();
  }

}

static void MX_SPI6_Init(void)
{

  /* SPI6 parameter configuration*/
  hspi6.Instance = SPI6;
  hspi6.Init.Mode = SPI_MODE_MASTER;
  hspi6.Init.Direction = SPI_DIRECTION_2LINES;
  hspi6.Init.DataSize = SPI_DATASIZE_8BIT;
  hspi6.Init.CLKPolarity = SPI_POLARITY_HIGH;
  hspi6.Init.CLKPhase = SPI_PHASE_2EDGE;
  hspi6.Init.NSS = SPI_NSS_SOFT;
  hspi6.Init.BaudRatePrescaler = SPI_BAUDRATEPRESCALER_32;
  hspi6.Init.FirstBit = SPI_FIRSTBIT_MSB;
  hspi6.Init.TIMode = SPI_TIMODE_DISABLE;
  hspi6.Init.CRCCalculation = SPI_CRCCALCULATION_DISABLE;
  hspi6.Init.CRCPolynomial = 0x0;
  hspi6.Init.NSSPMode = SPI_NSS_PULSE_ENABLE;
  hspi6.Init.NSSPolarity = SPI_NSS_POLARITY_LOW;
  hspi6.Init.FifoThreshold = SPI_FIFO_THRESHOLD_01DATA;
  hspi6.Init.TxCRCInitializationPattern = SPI_CRC_INITIALIZATION_ALL_ZERO_PATTERN;
  hspi6.Init.RxCRCInitializationPattern = SPI_CRC_INITIALIZATION_ALL_ZERO_PATTERN;
  hspi6.Init.MasterSSIdleness = SPI_MASTER_SS_IDLENESS_00CYCLE;
  hspi6.Init.MasterInterDataIdleness = SPI_MASTER_INTERDATA_IDLENESS_00CYCLE;
  hspi6.Init.MasterReceiverAutoSusp = SPI_MASTER_RX_AUTOSUSP_DISABLE;
  hspi6.Init.MasterKeepIOState = SPI_MASTER_KEEP_IO_STATE_ENABLE;
  hspi6.Init.IOSwap = SPI_IO_SWAP_DISABLE;
  if (HAL_SPI_Init(&hspi6) != HAL_OK)
  {
    Error_Handler();
  }

}

static void MX_TIM6_Init(void)
{

  TIM_MasterConfigTypeDef sMasterConfig = {0};

  htim6.Instance = TIM6;
  htim6.Init.Prescaler = 0;
  htim6.Init.CounterMode = TIM_COUNTERMODE_UP;
  htim6.Init.Period = 60000;
  htim6.Init.AutoReloadPreload = TIM_AUTORELOAD_PRELOAD_DISABLE;
  if (HAL_TIM_Base_Init(&htim6) != HAL_OK)
  {
    Error_Handler();
  }
  sMasterConfig.MasterOutputTrigger = TIM_TRGO_RESET;
  sMasterConfig.MasterSlaveMode = TIM_MASTERSLAVEMODE_DISABLE;
  if (HAL_TIMEx_MasterConfigSynchronization(&htim6, &sMasterConfig) != HAL_OK)
  {
    Error_Handler();
  }

}

static void MX_USART1_UART_Init(void)
{

  huart1.Instance = USART1;
  huart1.Init.BaudRate = 115200;
  huart1.Init.WordLength = UART_WORDLENGTH_8B;
  huart1.Init.StopBits = UART_STOPBITS_1;
  huart1.Init.Parity = UART_PARITY_NONE;
  huart1.Init.Mode = UART_MODE_TX_RX;
  huart1.Init.HwFlowCtl = UART_HWCONTROL_NONE;
  huart1.Init.OverSampling = UART_OVERSAMPLING_16;
  huart1.Init.OneBitSampling = UART_ONE_BIT_SAMPLE_DISABLE;
  huart1.Init.ClockPrescaler = UART_PRESCALER_DIV1;
  huart1.AdvancedInit.AdvFeatureInit = UART_ADVFEATURE_NO_INIT;
  if (HAL_UART_Init(&huart1) != HAL_OK)
  {
    Error_Handler();
  }
  if (HAL_UARTEx_SetTxFifoThreshold(&huart1, UART_TXFIFO_THRESHOLD_1_8) != HAL_OK)
  {
    Error_Handler();
  }
  if (HAL_UARTEx_SetRxFifoThreshold(&huart1, UART_RXFIFO_THRESHOLD_1_8) != HAL_OK)
  {
    Error_Handler();
  }
  if (HAL_UARTEx_DisableFifoMode(&huart1) != HAL_OK)
  {
    Error_Handler();
  }

}

static void MX_USART2_UART_Init(void)
{

  huart2.Instance = USART2;
  huart2.Init.BaudRate = 9600;
  huart2.Init.WordLength = UART_WORDLENGTH_8B;
  huart2.Init.StopBits = UART_STOPBITS_1;
  huart2.Init.Parity = UART_PARITY_NONE;
  huart2.Init.Mode = UART_MODE_TX_RX;
  huart2.Init.HwFlowCtl = UART_HWCONTROL_NONE;
  huart2.Init.OverSampling = UART_OVERSAMPLING_16;
  huart2.Init.OneBitSampling = UART_ONE_BIT_SAMPLE_DISABLE;
  huart2.Init.ClockPrescaler = UART_PRESCALER_DIV1;
  huart2.AdvancedInit.AdvFeatureInit = UART_ADVFEATURE_TXINVERT_INIT|UART_ADVFEATURE_RXINVERT_INIT
                              |UART_ADVFEATURE_RXOVERRUNDISABLE_INIT|UART_ADVFEATURE_DMADISABLEONERROR_INIT;
  huart2.AdvancedInit.TxPinLevelInvert = UART_ADVFEATURE_TXINV_ENABLE;
  huart2.AdvancedInit.RxPinLevelInvert = UART_ADVFEATURE_RXINV_ENABLE;
  huart2.AdvancedInit.OverrunDisable = UART_ADVFEATURE_OVERRUN_DISABLE;
  huart2.AdvancedInit.DMADisableonRxError = UART_ADVFEATURE_DMA_DISABLEONRXERROR;
  if (HAL_UART_Init(&huart2) != HAL_OK)
  {
    Error_Handler();
  }
  if (HAL_UARTEx_SetTxFifoThreshold(&huart2, UART_TXFIFO_THRESHOLD_1_8) != HAL_OK)
  {
    Error_Handler();
  }
  if (HAL_UARTEx_SetRxFifoThreshold(&huart2, UART_RXFIFO_THRESHOLD_1_8) != HAL_OK)
  {
    Error_Handler();
  }
  if (HAL_UARTEx_DisableFifoMode(&huart2) != HAL_OK)
  {
    Error_Handler();
  }

}

static void MX_GPIO_Init(void)
{
  GPIO_InitTypeDef GPIO_InitStruct = {0};

  /* GPIO Ports Clock Enable */
  __HAL_RCC_GPIOE_CLK_ENABLE();
  __HAL_RCC_GPIOC_CLK_ENABLE();
  __HAL_RCC_GPIOH_CLK_ENABLE();
  __HAL_RCC_GPIOA_CLK_ENABLE();
  __HAL_RCC_GPIOB_CLK_ENABLE();
  __HAL_RCC_GPIOD_CLK_ENABLE();

  /*Configure GPIO pin Output Level */
  HAL_GPIO_WritePin(GPIOE, TURN_ON_CHARGE_Pin|TURN_ON_DISCHARGE_Pin|EN_RELAY_Pin|TURN_OFF_CHARGE_Pin
                          |SPI4_NSS_EEPROM_Pin|WRPT_EEPROM_Pin|HOLD_EEPROM_Pin|TURN_OFF_DISCHARGE_Pin, GPIO_PIN_RESET);

  /*Configure GPIO pin Output Level */
  HAL_GPIO_WritePin(SPI6_NSS_LTC_GPIO_Port, SPI6_NSS_LTC_Pin, GPIO_PIN_RESET);

  /*Configure GPIO pin Output Level */
  HAL_GPIO_WritePin(GPIOB, SPI4_NSS_FLASH_Pin|LED_GREEN_BUZEER_Pin|LED_CHARGE_NC2_Pin, GPIO_PIN_RESET);

  /*Configure GPIO pin Output Level */
  HAL_GPIO_WritePin(GPIOD, SPI2_NSS_INA_Pin|TURN_ON_PRECHARGE_Pin|LED_ALARM_NC3_Pin|LED_DISCHARGE_NC1_Pin
                          |USART2_DE_Pin, GPIO_PIN_RESET);

  /*Configure GPIO pin Output Level */
  HAL_GPIO_WritePin(CAN_PWR_EN_GPIO_Port, CAN_PWR_EN_Pin, GPIO_PIN_RESET);

  /*Configure GPIO pins : TURN_ON_CHARGE_Pin TURN_ON_DISCHARGE_Pin EN_RELAY_Pin TURN_OFF_CHARGE_Pin
                           SPI4_NSS_EEPROM_Pin WRPT_EEPROM_Pin HOLD_EEPROM_Pin TURN_OFF_DISCHARGE_Pin */
  GPIO_InitStruct.Pin = TURN_ON_CHARGE_Pin|TURN_ON_DISCHARGE_Pin|EN_RELAY_Pin|TURN_OFF_CHARGE_Pin
                          |SPI4_NSS_EEPROM_Pin|WRPT_EEPROM_Pin|HOLD_EEPROM_Pin|TURN_OFF_DISCHARGE_Pin;
  GPIO_InitStruct.Mode = GPIO_MODE_OUTPUT_PP;
  GPIO_InitStruct.Pull = GPIO_NOPULL;
  GPIO_InitStruct.Speed = GPIO_SPEED_FREQ_LOW;
  HAL_GPIO_Init(GPIOE, &GPIO_InitStruct);

  /*Configure GPIO pin : SPI6_NSS_LTC_Pin */
  GPIO_InitStruct.Pin = SPI6_NSS_LTC_Pin;
  GPIO_InitStruct.Mode = GPIO_MODE_OUTPUT_PP;
  GPIO_InitStruct.Pull = GPIO_NOPULL;
  GPIO_InitStruct.Speed = GPIO_SPEED_FREQ_LOW;
  HAL_GPIO_Init(SPI6_NSS_LTC_GPIO_Port, &GPIO_InitStruct);

  /*Configure GPIO pins : FNC_BTN_Pin LED_GREEN_OK_Pin */
  GPIO_InitStruct.Pin = FNC_BTN_Pin|LED_GREEN_OK_Pin;
  GPIO_InitStruct.Mode = GPIO_MODE_INPUT;
  GPIO_InitStruct.Pull = GPIO_PULLUP;
  HAL_GPIO_Init(GPIOE, &GPIO_InitStruct);

  /*Configure GPIO pins : LED_YELLOW_DISCHARGE_Pin LED_YELLOW_CHARGE_Pin */
  GPIO_InitStruct.Pin = LED_YELLOW_DISCHARGE_Pin|LED_YELLOW_CHARGE_Pin;
  GPIO_InitStruct.Mode = GPIO_MODE_INPUT;
  GPIO_InitStruct.Pull = GPIO_PULLUP;
  HAL_GPIO_Init(GPIOB, &GPIO_InitStruct);

  /*Configure GPIO pins : SPI4_NSS_FLASH_Pin LED_GREEN_BUZEER_Pin LED_CHARGE_NC2_Pin */
  GPIO_InitStruct.Pin = SPI4_NSS_FLASH_Pin|LED_GREEN_BUZEER_Pin|LED_CHARGE_NC2_Pin;
  GPIO_InitStruct.Mode = GPIO_MODE_OUTPUT_PP;
  GPIO_InitStruct.Pull = GPIO_NOPULL;
  GPIO_InitStruct.Speed = GPIO_SPEED_FREQ_LOW;
  HAL_GPIO_Init(GPIOB, &GPIO_InitStruct);

  /*Configure GPIO pin : LED_RED_ALARM_Pin */
  GPIO_InitStruct.Pin = LED_RED_ALARM_Pin;
  GPIO_InitStruct.Mode = GPIO_MODE_INPUT;
  GPIO_InitStruct.Pull = GPIO_PULLUP;
  HAL_GPIO_Init(LED_RED_ALARM_GPIO_Port, &GPIO_InitStruct);

  /*Configure GPIO pins : SPI2_NSS_INA_Pin TURN_ON_PRECHARGE_Pin LED_ALARM_NC3_Pin LED_DISCHARGE_NC1_Pin
                           USART2_DE_Pin */
  GPIO_InitStruct.Pin = SPI2_NSS_INA_Pin|TURN_ON_PRECHARGE_Pin|LED_ALARM_NC3_Pin|LED_DISCHARGE_NC1_Pin
                          |USART2_DE_Pin;
  GPIO_InitStruct.Mode = GPIO_MODE_OUTPUT_PP;
  GPIO_InitStruct.Pull = GPIO_NOPULL;
  GPIO_InitStruct.Speed = GPIO_SPEED_FREQ_LOW;
  HAL_GPIO_Init(GPIOD, &GPIO_InitStruct);

  /*Configure GPIO pin : ALARM_INA_Pin */
  GPIO_InitStruct.Pin = ALARM_INA_Pin;
  GPIO_InitStruct.Mode = GPIO_MODE_IT_FALLING;
  GPIO_InitStruct.Pull = GPIO_NOPULL;
  HAL_GPIO_Init(ALARM_INA_GPIO_Port, &GPIO_InitStruct);

  /*Configure GPIO pin : CAN_PWR_EN_Pin */
  GPIO_InitStruct.Pin = CAN_PWR_EN_Pin;
  GPIO_InitStruct.Mode = GPIO_MODE_OUTPUT_PP;
  GPIO_InitStruct.Pull = GPIO_NOPULL;
  GPIO_InitStruct.Speed = GPIO_SPEED_FREQ_LOW;
  HAL_GPIO_Init(CAN_PWR_EN_GPIO_Port, &GPIO_InitStruct);

}

void Error_Handler(void)
{
  __disable_irq();
  while (1)
  {
  }
}
